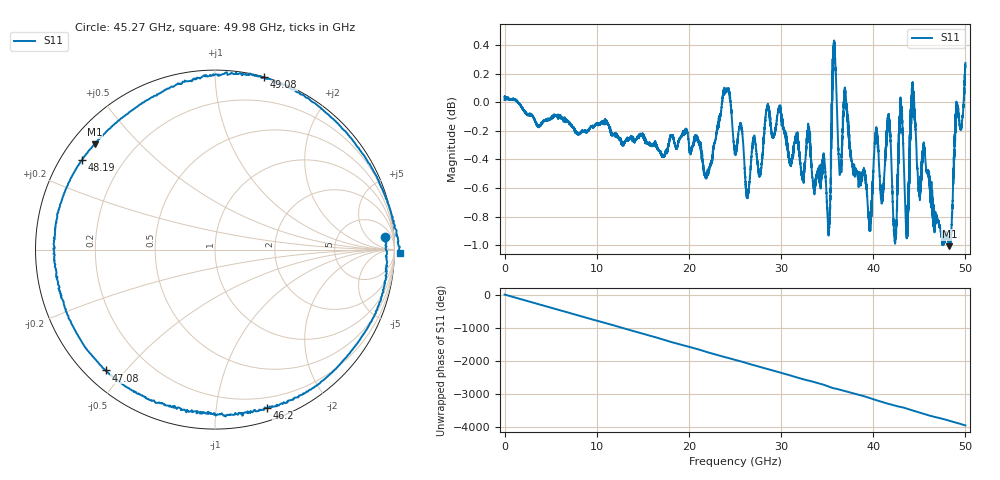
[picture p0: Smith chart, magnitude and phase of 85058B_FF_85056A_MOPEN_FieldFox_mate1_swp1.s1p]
!Created with skrf (http://scikit-rf.org).
# Hz S RI R 50.0
!freq ReS11 ImS11
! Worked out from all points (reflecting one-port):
!   10001 points, 300 kHz to 50 GHz, reference 50 ohm
!   lowest |S11| = -1.0 dB at 48.28 GHz (marker M1), VSWR 17.27, Z = 3.3 + j18.7 ohm
!   phase of S11 starts at 0 deg and turns -3963 deg over the sweep
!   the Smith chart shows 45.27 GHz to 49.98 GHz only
!   S11 on the Smith chart (normalised r, x): 45.27 GHz: 13, +19; 46.2 GHz: 0.10, -1.38; 47.08 GHz: 0.06, -0.44; 48.19 GHz: 0.06, +0.31; 49.08 GHz: 0.00, +1.32; 49.98 GHz: -46, -31
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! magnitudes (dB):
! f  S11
! 300 kHz  0.0
! 6.25 GHz  -0.1
! 12.5 GHz  -0.3
! 18.75 GHz  -0.3
! 21.94 GHz  -0.5
! 24.09 GHz  0.1
! 25 GHz  -0.4
! 31.25 GHz  -0.4
! 35.15 GHz  -0.9
! 35.78 GHz  0.3
! 36.37 GHz  -0.5
! 36.95 GHz  0.1
! 37.5 GHz  -0.3
! 39.63 GHz  -0.9
! 40.27 GHz  -0.2
! 41.67 GHz  -0.2
! 42.35 GHz  -1.0
! 43.01 GHz  -0.1
! 43.75 GHz  -0.8
! 44.28 GHz  0.1
! 45.27 GHz  -0.4
! 46.2 GHz  -0.6
! 47.08 GHz  -0.8
! 48.19 GHz  -1.0
! 48.28 GHz  -1.0
! 49.08 GHz  0.0
! 49.98 GHz  0.3
! 50 GHz  0.3
